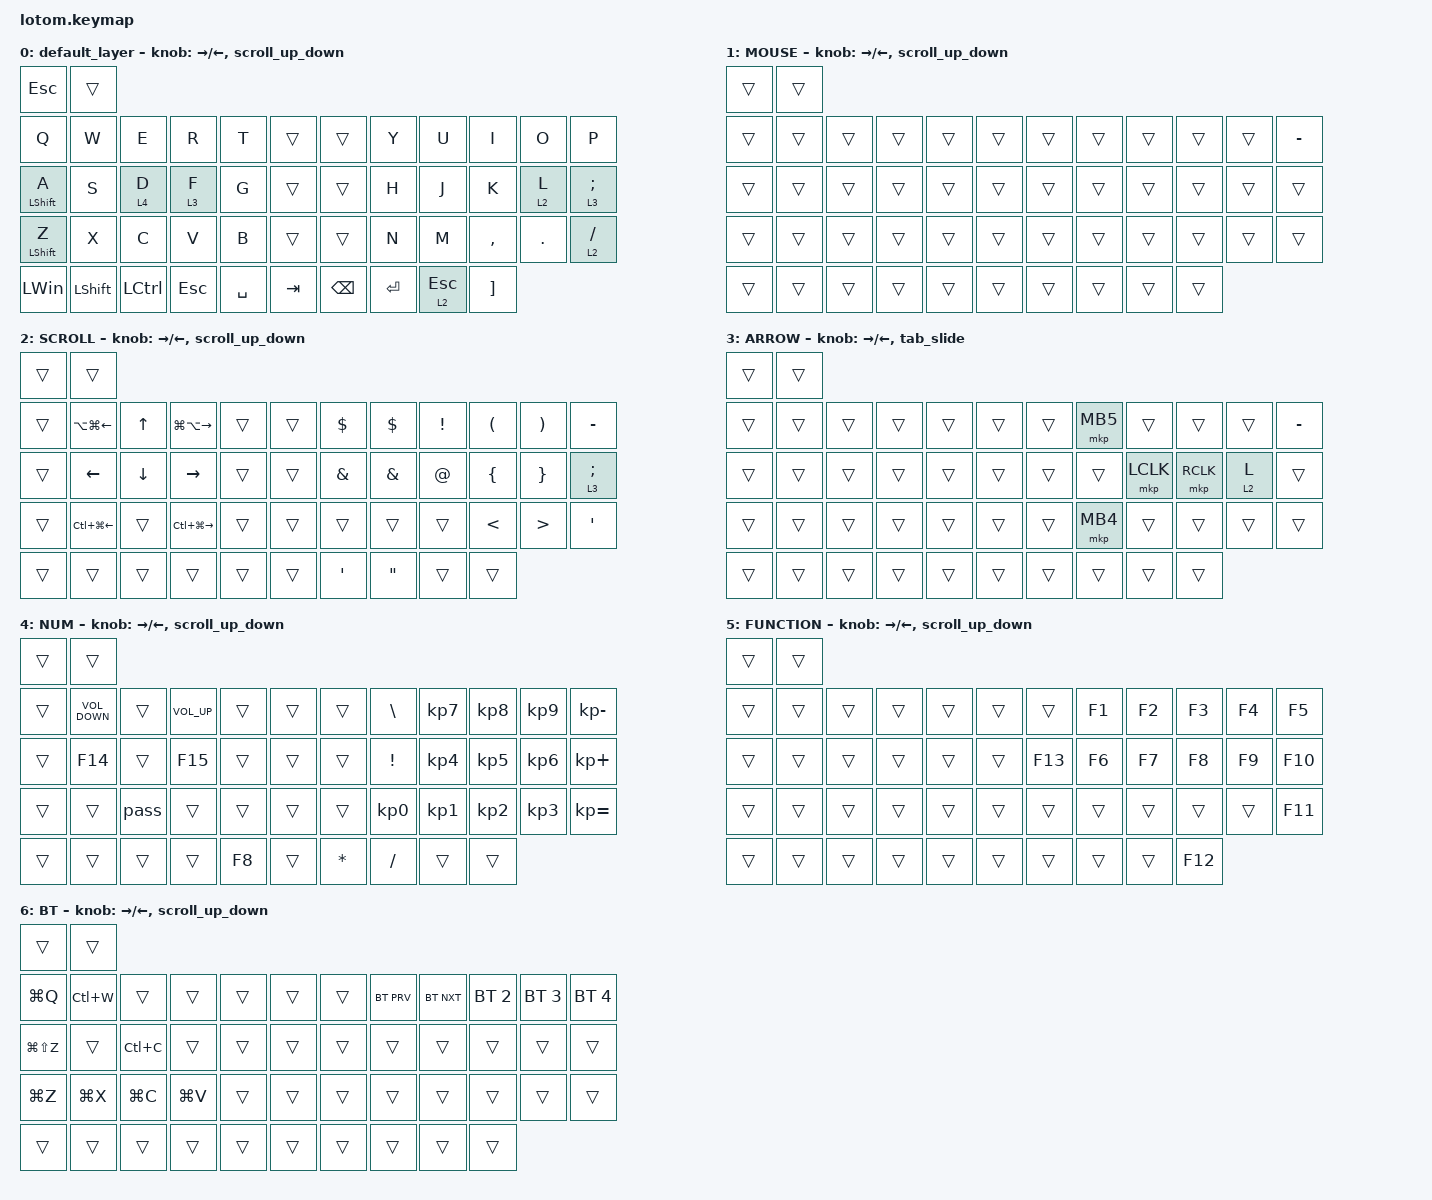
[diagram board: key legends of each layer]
#include <behaviors.dtsi>
#include <dt-bindings/zmk/bt.h>
#include <dt-bindings/zmk/keys.h>
#include <dt-bindings/zmk/pointing.h>

#define ZMK_POINTING_DEFAULT_SCRL_VAL 80

/ {
    behaviors {
        scroll_up_down: behavior_sensor_rotate_mouse_wheel_up_down {
            compatible = "zmk,behavior-sensor-rotate";
            label = "ENCODER_MSC_DOWN_UP";
            #sensor-binding-cells = <0>;
            bindings = <&msc SCRL_DOWN>, <&msc SCRL_UP>;

            tap-ms = <20>;
        };

        tab_slide: behavior_sensor_rotate_tab_slide {
            compatible = "zmk,behavior-sensor-rotate";
            label = "ENCODER_TAB_SLIDE";
            #sensor-binding-cells = <0>;
            bindings = <&kp LA(LG(RIGHT_ARROW))>, <&kp LA(LG(LEFT_ARROW))>;

            tap-ms = <20>;
        };
    };

    macros {
        pass: new_macro {
            compatible = "zmk,behavior-macro";
            #binding-cells = <0>;
            bindings = <&kp NUMBER_1 &kp NUMBER_1 &kp NUMBER_2 &kp NUMBER_8 &kp NUMBER_1 &kp NUMBER_2 &kp NUMBER_1 &kp NUMBER_2 &kp ENTER &kp LG(LS(UP_ARROW)) &kp BACKSPACE>;
            label = "NEW_MACRO";
        };
    };

    keymap {
        compatible = "zmk,keymap";

        default_layer {
            bindings = <
&kp ESCAPE        &trans
&kp Q             &kp W           &kp E             &kp R       &kp T      &trans   &trans         &kp Y      &kp U         &kp I              &kp O    &kp P
&mt LEFT_SHIFT A  &kp S           &lt 4 D           &lt 3 F     &kp G      &trans   &trans         &kp H      &kp J         &kp K              &lt 2 L  &lt 3 SEMICOLON
&mt LEFT_SHIFT Z  &kp X           &kp C             &kp V       &kp B      &trans   &trans         &kp N      &kp M         &kp COMMA          &kp DOT  &lt 2 SLASH
&kp LEFT_WIN      &kp LEFT_SHIFT  &kp LEFT_CONTROL  &kp ESCAPE  &kp SPACE  &kp TAB  &kp BACKSPACE  &kp ENTER  &lt 2 ESCAPE  &kp RIGHT_BRACKET
            >;

            sensor-bindings = <
                &inc_dec_kp RIGHT_ARROW LEFT_ARROW
                &scroll_up_down
            >;
        };

        MOUSE {
            bindings = <
&trans  &trans
&trans  &trans  &trans  &trans  &trans  &trans  &trans  &trans  &trans  &trans  &trans  &kp MINUS
&trans  &trans  &trans  &trans  &trans  &trans  &trans  &trans  &trans  &trans  &trans  &trans
&trans  &trans  &trans  &trans  &trans  &trans  &trans  &trans  &trans  &trans  &trans  &trans
&trans  &trans  &trans  &trans  &trans  &trans  &trans  &trans  &trans  &trans
            >;

            sensor-bindings = <
                &inc_dec_kp RIGHT_ARROW LEFT_ARROW
                &scroll_up_down
            >;
        };

        SCROLL {
            bindings = <
&trans  &trans
&trans  &kp LA(LG(LEFT_ARROW))  &kp UP_ARROW    &kp LG(LA(RIGHT))        &trans  &trans  &kp DOLLAR     &kp DOLLAR         &kp EXCLAMATION  &kp LEFT_PARENTHESIS  &kp RIGHT_PARENTHESIS  &kp MINUS
&trans  &kp LEFT                &kp DOWN_ARROW  &kp RIGHT_ARROW          &trans  &trans  &kp AMPERSAND  &kp AMPERSAND      &kp AT_SIGN      &kp LEFT_BRACE        &kp RIGHT_BRACE        &lt 3 SEMICOLON
&trans  &kp LC(LG(LEFT_ARROW))  &trans          &kp LC(LG(RIGHT_ARROW))  &trans  &trans  &trans         &trans             &trans           &kp LESS_THAN         &kp GREATER_THAN       &kp SQT
&trans  &trans                  &trans          &trans                   &trans  &trans  &kp SQT        &kp DOUBLE_QUOTES  &trans           &trans
            >;

            sensor-bindings = <
                &inc_dec_kp RIGHT_ARROW LEFT_ARROW
                &scroll_up_down
            >;
        };

        ARROW {
            bindings = <
&trans  &trans
&trans  &trans  &trans  &trans  &trans  &trans  &trans  &mkp MB5  &trans     &trans     &trans   &kp MINUS
&trans  &trans  &trans  &trans  &trans  &trans  &trans  &trans    &mkp LCLK  &mkp RCLK  &lt 2 L  &trans
&trans  &trans  &trans  &trans  &trans  &trans  &trans  &mkp MB4  &trans     &trans     &trans   &trans
&trans  &trans  &trans  &trans  &trans  &trans  &trans  &trans    &trans     &trans
            >;

            sensor-bindings =
                <&inc_dec_kp RIGHT_ARROW LEFT_ARROW>,
                <&tab_slide>;
        };

        NUM {
            bindings = <
&trans  &trans
&trans  &kp C_VOLUME_DOWN  &trans  &kp C_VOLUME_UP  &trans  &trans  &trans        &kp BACKSLASH    &kp KP_NUMBER_7  &kp KP_NUMBER_8  &kp KP_NUMBER_9  &kp KP_MINUS
&trans  &kp F14            &trans  &kp F15          &trans  &trans  &trans        &kp EXCLAMATION  &kp KP_NUMBER_4  &kp KP_NUMBER_5  &kp KP_NUMBER_6  &kp KP_PLUS
&trans  &trans             &pass   &trans           &trans  &trans  &trans        &kp KP_NUMBER_0  &kp KP_NUMBER_1  &kp KP_NUMBER_2  &kp KP_NUMBER_3  &kp KP_EQUAL
&trans  &trans             &trans  &trans           &kp F8  &trans  &kp ASTERISK  &kp SLASH        &trans           &trans
            >;

            sensor-bindings = <
                &inc_dec_kp RIGHT_ARROW LEFT_ARROW
                &scroll_up_down
            >;
        };

        FUNCTION {
            bindings = <
&trans  &trans
&trans  &trans  &trans  &trans  &trans  &trans  &trans   &kp F1  &kp F2  &kp F3   &kp F4  &kp F5
&trans  &trans  &trans  &trans  &trans  &trans  &kp F13  &kp F6  &kp F7  &kp F8   &kp F9  &kp F10
&trans  &trans  &trans  &trans  &trans  &trans  &trans   &trans  &trans  &trans   &trans  &kp F11
&trans  &trans  &trans  &trans  &trans  &trans  &trans   &trans  &trans  &kp F12
            >;

            sensor-bindings = <
                &inc_dec_kp RIGHT_ARROW LEFT_ARROW
                &scroll_up_down
            >;
        };

        BT {
            bindings = <
&trans         &trans
&kp LG(Q)      &kp LC(W)  &trans     &trans     &trans  &trans  &trans  &bt BT_PRV  &bt BT_NXT  &bt BT_SEL 2  &bt BT_SEL 3  &bt BT_SEL 4
&kp LG(LS(Z))  &trans     &kp LC(C)  &trans     &trans  &trans  &trans  &trans      &trans      &trans        &trans        &trans
&kp LG(Z)      &kp LG(X)  &kp LG(C)  &kp LG(V)  &trans  &trans  &trans  &trans      &trans      &trans        &trans        &trans
&trans         &trans     &trans     &trans     &trans  &trans  &trans  &trans      &trans      &trans
            >;

            sensor-bindings = <
                &inc_dec_kp RIGHT_ARROW LEFT_ARROW
                &scroll_up_down
            >;
        };
    };
};
